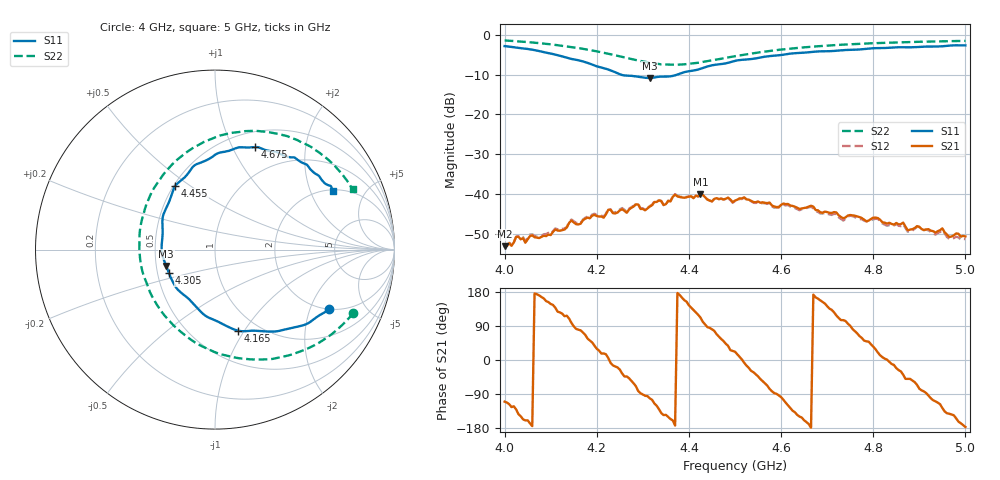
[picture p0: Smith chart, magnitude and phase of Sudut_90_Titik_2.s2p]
# Hz S RI R 50
! CMT, C1220, 16058040, 17.2.0/1
! Date: 15/08/2018 11:40:52
! Data: Format (Calibration Info)
! Freq  S11: Re/Im (F2)  S21: Re/Im (F2)  S12: Re/Im (F2)  S22: Re/Im (F2)
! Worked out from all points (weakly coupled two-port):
!   201 points, 4 GHz to 5 GHz, reference 50 ohm
!   highest |S21| = -40.11 dB at 4.425 GHz (marker M1); lowest = -53.1 dB at 4 GHz (marker M2)
!   lowest |S11| = -10.9 dB at 4.315 GHz (marker M3), VSWR 1.80, Z = 28.2 - j5.61 ohm
!   |S11| at or under -10 dB: 4.252 GHz to 4.375 GHz (122.9 MHz wide, 2.85 % of centre)
!   |S22| runs from -7.5 to -1.4 dB; largest |S21 - S12| = 0.00034
!   S11 on the Smith chart (normalised r, x): 4 GHz: 1.99, -2.75; 4.165 GHz: 0.81, -0.94; 4.305 GHz: 0.57, -0.16; 4.455 GHz: 0.51, +0.44; 4.675 GHz: 0.67, +1.23; 5 GHz: 2.04, +2.91
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4e9  0.6379 -0.3328  -0.000752 -0.00208  -0.000696 -0.00217  0.7698 -0.3538
4.025e9  0.5844 -0.3644  -0.00187 -0.00221  -0.00182 -0.00227  0.7219 -0.4073
4.045e9  0.5342 -0.4003  -0.00228 -0.00086  -0.00239 -0.000945  0.6764 -0.4493
4.1e9  0.3634 -0.4517  -0.00258 0.00162  -0.00269 0.00166  0.5234 -0.5478
4.145e9  0.2053 -0.4519  -0.000646 0.0046  -0.000746 0.00473  0.3603 -0.6001
4.165e9  0.1306 -0.4523  0.000865 0.00415  0.000817 0.00424  0.281 -0.6117
4.17e9  0.1145 -0.4476  0.0014 0.00446  0.00134 0.00458  0.2604 -0.6122
4.215e9  -0.0353 -0.3789  0.00481 0.00151  0.00496 0.0016  0.0624 -0.5903
4.225e9  -0.0649 -0.3596  0.0063 0.00056  0.00643 0.000669  0.0169 -0.578
4.265e9  -0.1757 -0.2508  0.00421 -0.004  0.00434 -0.00411  -0.1524 -0.4883
4.285e9  -0.2263 -0.1959  0.00261 -0.00693  0.00268 -0.00702  -0.2305 -0.423
4.305e9  -0.257 -0.1303  -0.000483 -0.00622  -0.000518 -0.00633  -0.2954 -0.3487
4.315e9  -0.2718 -0.0912  -0.00134 -0.00681  -0.00138 -0.00694  -0.3241 -0.3062
4.335e9  -0.2956 -0.0234  -0.0053 -0.00636  -0.00541 -0.0064  -0.371 -0.2142
4.345e9  -0.2976 0.0088  -0.00598 -0.00412  -0.00598 -0.0041  -0.3887 -0.1675
4.425e9  -0.2526 0.2741  -0.00374 0.00914  -0.00353 0.00917  -0.3921 0.2202
4.455e9  -0.2219 0.3541  0.00196 0.00845  0.0022 0.00841  -0.339 0.344
4.5e9  -0.1316 0.4504  0.00765 0.00308  0.00759 0.00297  -0.2238 0.4883
4.67e9  0.2161 0.5704  -0.00687 0.000904  -0.00655 0.000964  0.2623 0.658
4.675e9  0.2239 0.5711  -0.00608 0.00159  -0.00579 0.00162  0.2745 0.6575
4.835e9  0.4845 0.4846  0.00433 -0.000362  0.00405 -0.000291  0.5882 0.5349
5e9  0.6566 0.3285  -0.00292 -0.000167  -0.0027 -0.000271  0.7674 0.3349
